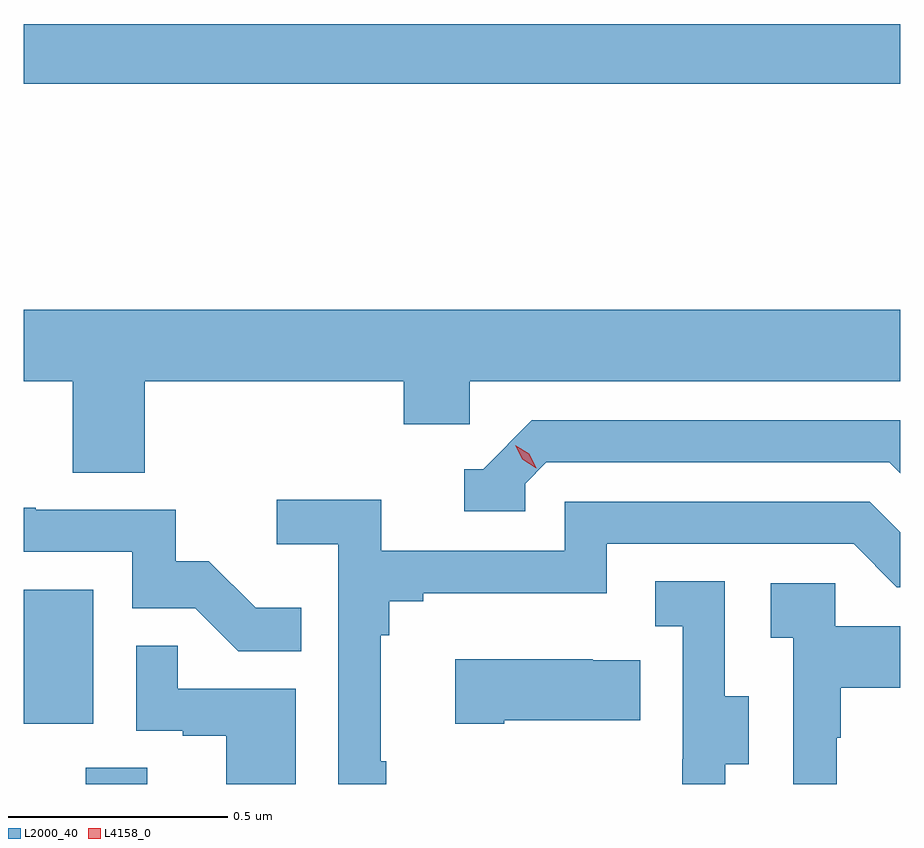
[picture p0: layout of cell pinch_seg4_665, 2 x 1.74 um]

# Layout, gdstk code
import gdstk
lib = gdstk.Library(unit=1e-6, precision=1e-09)
def R(c, l, rs):  # rectangles x0, y0, x1, y1
    for r in rs: c.add(gdstk.rectangle(r[:2], r[2:], *l))
def P(c, l, *ps):  # polygons
    for p in ps: c.add(gdstk.Polygon(p, *l))
L2000_40 = (2000, 40)
L4158_0 = (4158, 0)

pinch_seg4_665 = lib.new_cell('pinch_seg4_665')
R(pinch_seg4_665, L2000_40, [(1032.599,755.941,1032.739,755.978), (1032.458,756.078,1032.616,756.385), (1032.458,757.54,1034.458,757.676)])
P(pinch_seg4_665, L2000_40, [(1032.734,756.86),(1033.325,756.86),(1033.325,756.762),(1033.476,756.762),(1033.476,756.86),(1034.458,756.86),(1034.458,757.024),(1032.458,757.024),(1032.458,756.86),(1032.569,756.86),(1032.569,756.652),(1032.734,756.652)],
  [(1033.602,756.627),(1033.65,756.675),(1034.433,756.675),(1034.458,756.65),(1034.458,756.771),(1033.617,756.771),(1033.506,756.66),(1033.463,756.66),(1033.463,756.564),(1033.602,756.564)],
  [(1033.285,755.993),(1033.273,755.993),(1033.273,756.281),(1033.292,756.281),(1033.292,756.358),(1033.369,756.358),(1033.369,756.377),(1033.788,756.377),(1033.788,756.489),(1034.352,756.489),(1034.451,756.39),(1034.458,756.39),(1034.458,756.516),(1034.389,756.585),(1033.692,756.585),(1033.692,756.474),(1033.274,756.474),(1033.274,756.59),(1033.035,756.59),(1033.035,756.488),(1033.176,756.488),(1033.176,755.941),(1033.285,755.941)],
  [(1033.091,756.343),(1032.987,756.343),(1032.88,756.45),(1032.804,756.45),(1032.804,756.567),(1032.485,756.567),(1032.485,756.572),(1032.458,756.572),(1032.458,756.471),(1032.705,756.471),(1032.705,756.342),(1032.849,756.342),(1032.947,756.244),(1033.091,756.244)],
  [(1034.059,755.986),(1034.113,755.986),(1034.113,756.141),(1034.058,756.141),(1034.058,756.404),(1033.899,756.404),(1033.899,756.301),(1033.962,756.301),(1033.962,755.997),(1033.961,755.997),(1033.961,755.941),(1034.059,755.941)],
  [(1034.313,756.047),(1034.323,756.047),(1034.323,756.161),(1034.458,756.161),(1034.458,756.301),(1034.31,756.301),(1034.31,756.399),(1034.163,756.399),(1034.163,756.275),(1034.214,756.275),(1034.214,755.941),(1034.313,755.941)],
  [(1033.078,756.159),(1032.809,756.159),(1032.809,756.257),(1032.714,756.257),(1032.714,756.063),(1032.821,756.063),(1032.821,756.051),(1032.92,756.051),(1032.92,755.941),(1033.078,755.941)],
  [(1033.555,756.086),(1033.865,756.086),(1033.865,756.223),(1033.757,756.223),(1033.757,756.226),(1033.443,756.226),(1033.443,756.079),(1033.555,756.079)])
P(pinch_seg4_665, L4158_0, [(1033.627,756.662),(1033.596,756.682),(1033.58,756.714),(1033.58,756.714),(1033.58,756.714),(1033.611,756.695),(1033.627,756.662),(1033.627,756.662)])

lib.write_gds('pinch_seg4_665.gds')
